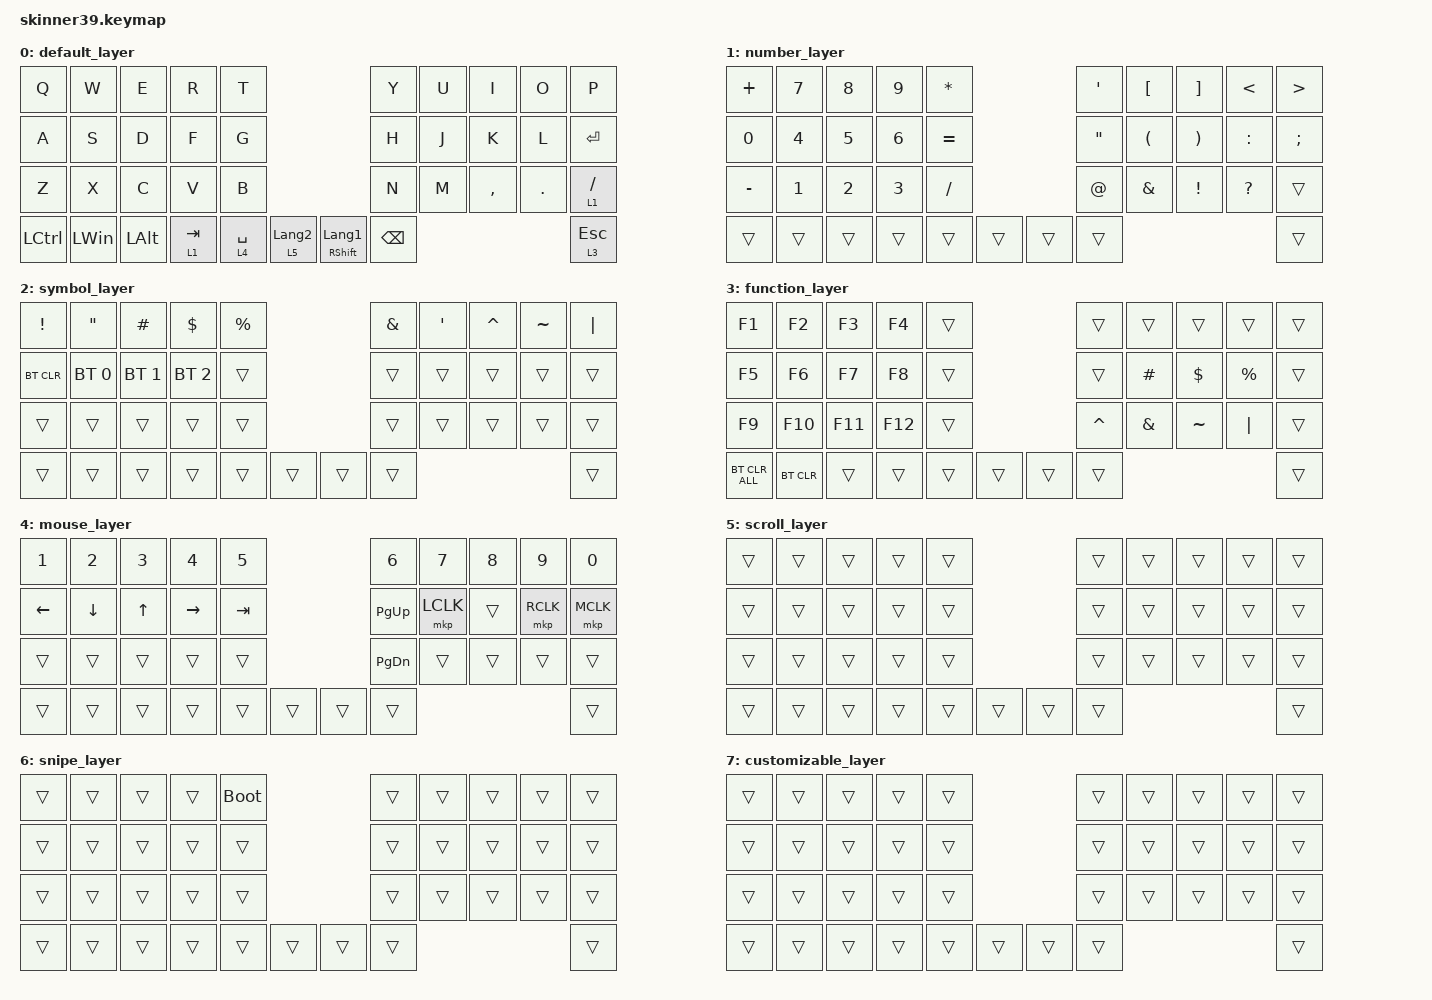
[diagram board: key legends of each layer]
#include <behaviors.dtsi>
#include <dt-bindings/zmk/bt.h>
#include <dt-bindings/zmk/keys.h>
#include <dt-bindings/zmk/pointing.h>

/ {
    keymap {
        compatible = "zmk,keymap";

        default_layer {
            bindings = <
  &kp Q      &kp W         &kp E         &kp R      &kp T                                                      &kp Y          &kp U  &kp I      &kp O       &kp P
  &kp A      &kp S         &kp D         &kp F      &kp G                                                      &kp H          &kp J  &kp K      &kp L       &kp ENTER
  &kp Z      &kp X         &kp C         &kp V      &kp B                                                      &kp N          &kp M  &kp COMMA  &kp PERIOD  &lt 1 SLASH
  &kp LCTRL  &kp LEFT_WIN  &kp LEFT_ALT  &lt 1 TAB  &lt 4 SPACE  &lt 5 LANGUAGE_2  &mt RIGHT_SHIFT LANGUAGE_1  &kp BACKSPACE                                &lt 3 ESCAPE
            >;
        };

        number_layer {
            bindings = <
  &kp PLUS      &kp NUMBER_7  &kp NUMBER_8  &kp NUMBER_9  &kp ASTRK                  &kp SINGLE_QUOTE   &kp LEFT_BRACKET      &kp RIGHT_BRACKET      &kp LESS_THAN  &kp GREATER_THAN
  &kp NUMBER_0  &kp NUMBER_4  &kp NUMBER_5  &kp NUMBER_6  &kp EQUAL                  &kp DOUBLE_QUOTES  &kp LEFT_PARENTHESIS  &kp RIGHT_PARENTHESIS  &kp COLON      &kp SEMI
  &kp MINUS     &kp NUMBER_1  &kp NUMBER_2  &kp NUMBER_3  &kp SLASH                  &kp AT             &kp AMPERSAND         &kp EXCLAMATION        &kp QUESTION   &trans
  &trans        &trans        &trans        &trans        &trans     &trans  &trans  &trans                                                                         &trans
            >;
        };

        symbol_layer {
            bindings = <
  &kp EXCLAMATION  &kp DOUBLE_QUOTES  &kp HASH      &kp DOLLAR    &kp PERCENT                  &kp AMPERSAND  &kp SQT  &kp CARET  &kp TILDE  &kp PIPE
  &bt BT_CLR       &bt BT_SEL 0       &bt BT_SEL 1  &bt BT_SEL 2  &trans                       &trans         &trans   &trans     &trans     &trans
  &trans           &trans             &trans        &trans        &trans                       &trans         &trans   &trans     &trans     &trans
  &trans           &trans             &trans        &trans        &trans       &trans  &trans  &trans                                        &trans
            >;
        };

        function_layer {
            bindings = <
  &kp F1          &kp F2      &kp F3   &kp F4   &trans                  &trans     &trans         &trans      &trans       &trans
  &kp F5          &kp F6      &kp F7   &kp F8   &trans                  &trans     &kp HASH       &kp DOLLAR  &kp PERCENT  &trans
  &kp F9          &kp F10     &kp F11  &kp F12  &trans                  &kp CARET  &kp AMPERSAND  &kp TILDE   &kp PIPE     &trans
  &bt BT_CLR_ALL  &bt BT_CLR  &trans   &trans   &trans  &trans  &trans  &trans                                             &trans
            >;
        };

        mouse_layer {
            bindings = <
  &kp N1          &kp N2          &kp N3        &kp N4     &kp N5                   &kp N6         &kp N7     &kp N8  &kp N9     &kp N0
  &kp LEFT_ARROW  &kp DOWN_ARROW  &kp UP_ARROW  &kp RIGHT  &kp TAB                  &kp PAGE_UP    &mkp LCLK  &trans  &mkp RCLK  &mkp MCLK
  &trans          &trans          &trans        &trans     &trans                   &kp PAGE_DOWN  &trans     &trans  &trans     &trans
  &trans          &trans          &trans        &trans     &trans   &trans  &trans  &trans                                       &trans
            >;
        };

        scroll_layer {
            bindings = <
  &trans  &trans  &trans  &trans  &trans                  &trans  &trans  &trans  &trans  &trans
  &trans  &trans  &trans  &trans  &trans                  &trans  &trans  &trans  &trans  &trans
  &trans  &trans  &trans  &trans  &trans                  &trans  &trans  &trans  &trans  &trans
  &trans  &trans  &trans  &trans  &trans  &trans  &trans  &trans                          &trans
            >;
        };

        snipe_layer {
            bindings = <
  &trans  &trans  &trans  &trans  &bootloader                  &trans  &trans  &trans  &trans  &trans
  &trans  &trans  &trans  &trans  &trans                       &trans  &trans  &trans  &trans  &trans
  &trans  &trans  &trans  &trans  &trans                       &trans  &trans  &trans  &trans  &trans
  &trans  &trans  &trans  &trans  &trans       &trans  &trans  &trans                          &trans
            >;
        };

        customizable_layer {
            bindings = <
  &trans  &trans  &trans  &trans  &trans                  &trans  &trans  &trans  &trans  &trans
  &trans  &trans  &trans  &trans  &trans                  &trans  &trans  &trans  &trans  &trans
  &trans  &trans  &trans  &trans  &trans                  &trans  &trans  &trans  &trans  &trans
  &trans  &trans  &trans  &trans  &trans  &trans  &trans  &trans                          &trans
            >;
        };
    };
};
